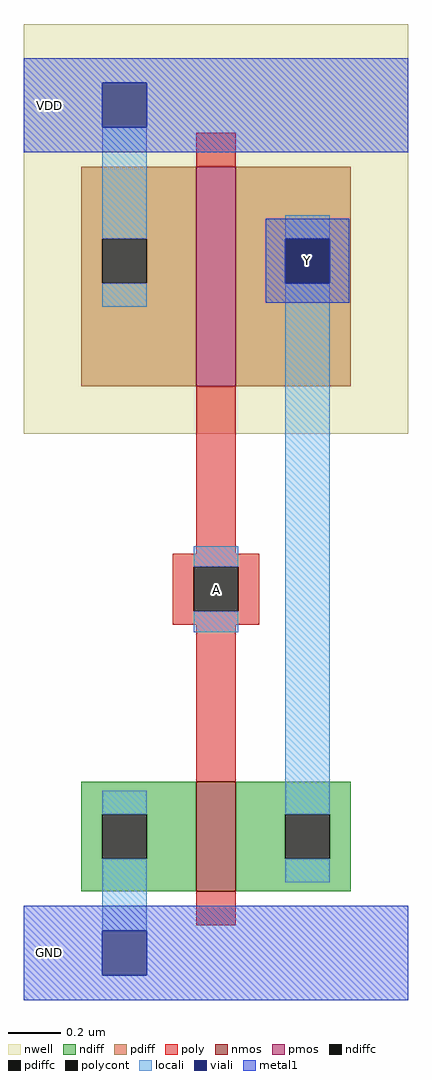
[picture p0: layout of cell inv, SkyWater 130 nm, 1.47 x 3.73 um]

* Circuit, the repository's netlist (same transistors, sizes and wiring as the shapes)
.subckt inv a y vdd vss
XXP y a vdd vdd sky130_fd_pr__pfet_01v8 L=0.15 W=0.84 nf=1 m=1
XXN y a vss vss sky130_fd_pr__nfet_01v8 L=0.15 W=0.42 nf=1 m=1
.ends

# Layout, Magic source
magic
tech sky130A
magscale 1 2
<< nwell >>
rect 0 397 294 710
<< nmos >>
rect 132 47 162 131
<< pmos >>
rect 132 433 162 601
<< ndiff >>
rect 44 106 132 131
rect 44 72 60 106
rect 94 72 132 106
rect 44 47 132 72
rect 162 106 250 131
rect 162 72 200 106
rect 234 72 250 106
rect 162 47 250 72
<< pdiff >>
rect 44 546 132 601
rect 44 512 60 546
rect 94 512 132 546
rect 44 433 132 512
rect 162 546 250 601
rect 162 512 200 546
rect 234 512 250 546
rect 162 433 250 512
<< ndiffc >>
rect 60 72 94 106
rect 200 72 234 106
<< pdiffc >>
rect 60 512 94 546
rect 200 512 234 546
<< poly >>
rect 132 601 162 627
rect 132 305 162 433
rect 114 295 180 305
rect 114 261 130 295
rect 164 261 180 295
rect 114 251 180 261
rect 132 131 162 251
rect 132 21 162 47
<< polycont >>
rect 130 261 164 295
<< locali >>
rect 60 546 94 631
rect 60 494 94 512
rect 200 546 234 564
rect 130 295 164 311
rect 130 245 164 261
rect 60 106 94 124
rect 60 17 94 72
rect 200 106 234 512
rect 200 54 234 72
<< viali >>
rect 60 631 94 665
rect 200 512 234 546
rect 60 -17 94 17
<< metal1 >>
rect 0 665 294 684
rect 0 631 60 665
rect 94 631 294 665
rect 0 612 294 631
rect 185 546 249 561
rect 185 512 200 546
rect 234 512 249 546
rect 185 497 249 512
rect 0 17 294 36
rect 0 -17 60 17
rect 94 -17 294 17
rect 0 -36 294 -17
<< labels >>
rlabel polycont 147 278 147 278 0 A
port 1 nsew
rlabel viali 217 529 217 529 0 Y
port 2 nsew
rlabel metal1 20 648 20 648 0 VDD
port 3 nsew
rlabel metal1 20 0 20 0 0 GND
port 4 nsew
<< end >>
